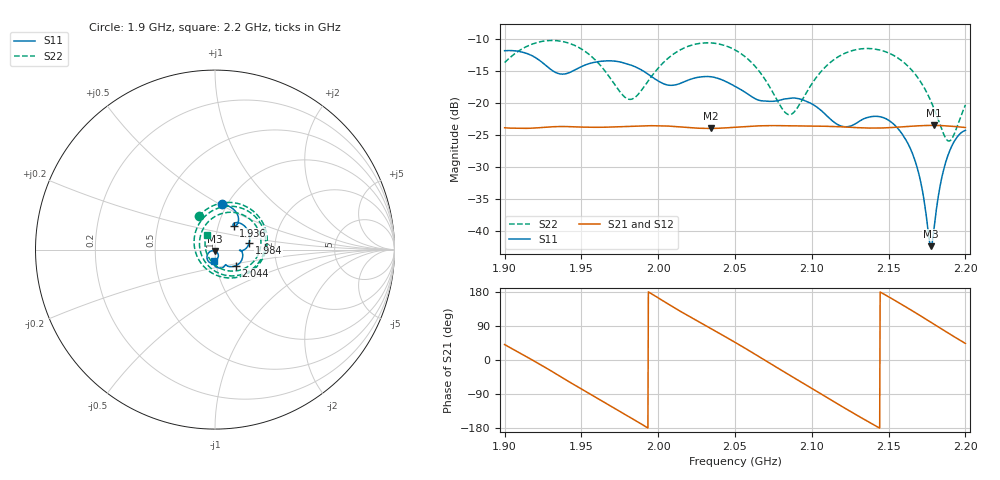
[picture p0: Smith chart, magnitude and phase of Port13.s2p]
# Hz S RI R 50
! CMT, CMT808U, 21440046, 21.4.3/4
! Date: 3/28/2026 5:05:22 PM
! Data: Format (Calibration Info)
! Freq	S11:Re/Im(F2)	S41:Re/Im(F2)	S14:Re/Im(F2)	S44:Re/Im(F2)
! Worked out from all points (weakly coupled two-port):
!   1001 points, 1.9 GHz to 2.2 GHz, reference 50 ohm
!   highest |S21| = -23.51 dB at 2.18 GHz (marker M1); lowest = -24.0 dB at 2.034 GHz (marker M2)
!   lowest |S11| = -42.3 dB at 2.178 GHz (marker M3), VSWR 1.02, Z = 49.8 - j0.725 ohm
!   |S11| at or under -10 dB: start of sweep to end of sweep
!   |S22| runs from -25.9 to -10.3 dB; largest |S21 - S12| = 0.00043
!   S11 on the Smith chart (normalised r, x): 1.9 GHz: 0.95, +0.51; 1.936 GHz: 1.19, +0.32; 1.984 GHz: 1.46, +0.11; 2.044 GHz: 1.24, -0.23; 2.2 GHz: 0.98, -0.12
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1.9e9  0.038 0.2515  0.0485 0.0417  0.0481 0.0418  -0.0906 0.1846
1.9174e9  0.1232 0.1989  0.0634 0.00161  0.0633 0.00192  0.1185 0.2588
1.9363e9  0.1042 0.1312  0.0474 -0.045  0.0475 -0.0447  0.2859 0.0972
1.9501e9  0.1181 0.1507  0.0147 -0.0631  0.015 -0.0629  0.2514 -0.073
1.9666e9  0.177 0.117  -0.0278 -0.0584  -0.0274 -0.0584  0.0628 -0.1568
1.984e9  0.1896 0.0355  -0.0604 -0.0259  -0.0602 -0.0262  -0.1064 -0.0202
2.0002e9  0.1472 -0.00646  -0.0636 0.019  -0.0635 0.0186  -0.0657 0.1754
2.0164e9  0.1448 -0.0053  -0.036 0.0536  -0.0362 0.0533  0.1153 0.2392
2.0341e9  0.1465 -0.0633  0.00743 0.0627  0.00706 0.0627  0.2698 0.1129
2.044e9  0.1156 -0.09  0.0312 0.0556  0.0309 0.0557  0.2772 0.000153
2.05e9  0.0951 -0.0948  0.0443 0.0469  0.044 0.0471  0.25 -0.0629
2.0668e9  0.0611 -0.0841  0.0659 0.00689  0.0658 0.00723  0.0854 -0.1464
2.0842e9  0.049 -0.0961  0.0531 -0.0396  0.0532 -0.0393  -0.0708 -0.0404
2.1001e9  0.00811 -0.0976  0.0168 -0.0637  0.0171 -0.0635  -0.0587 0.1282
2.1217e9  -0.00212 -0.0651  -0.0395 -0.0514  -0.0391 -0.0515  0.1383 0.2001
2.1502e9  -0.04 -0.061  -0.0622 0.0152  -0.0622 0.0149  0.2424 -0.0238
2.1667e9  -0.0336 -0.0154  -0.0394 0.0528  -0.0397 0.0526  0.1232 -0.1179
2.1775e9  -0.00237 -0.00729  -0.0112 0.0658  -0.0116 0.0656  0.0228 -0.1007
2.1796e9  0.00383 -0.00982  -0.00506 0.0665  -0.00544 0.0664  0.00586 -0.0899
2.1838e9  0.0139 -0.0189  0.00731 0.0662  0.00695 0.0661  -0.0231 -0.0619
2.1892e9  0.0187 -0.0361  0.0225 0.062  0.0221 0.0621  -0.0476 -0.0166
2.2e9  -0.00564 -0.0608  0.0464 0.0444  0.0461 0.0447  -0.0468 0.084
